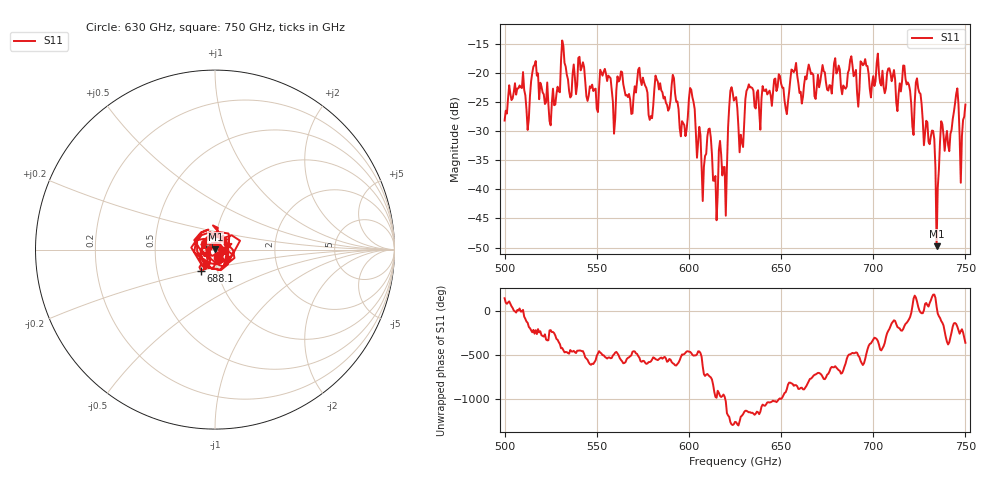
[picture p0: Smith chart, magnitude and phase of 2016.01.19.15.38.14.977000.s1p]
!Created with skrf (http://scikit-rf.org).
# GHz S RI R 50.0
!freq ReS11 ImS11
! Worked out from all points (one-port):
!   401 points, 500 GHz to 750 GHz, reference 50 ohm
!   lowest |S11| = -49.8 dB at 734.4 GHz (marker M1), VSWR 1.01, Z = 50.2 + j0.235 ohm
!   |S11| at or under -10 dB: start of sweep to end of sweep
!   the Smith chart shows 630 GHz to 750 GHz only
!   S11 on the Smith chart (normalised r, x): 630 GHz: 1.04, -0.07; 688.1 GHz: 0.83, -0.20; 750 GHz: 1.11, -0.00
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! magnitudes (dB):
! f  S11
! 500 GHz  -28.1
! 508.8 GHz  -22.4
! 512.5 GHz  -29.7
! 516.2 GHz  -18.6
! 525.6 GHz  -25.1
! 531.2 GHz  -14.3
! 559.4 GHz  -30.4
! 562.5 GHz  -21.1
! 593.8 GHz  -24.8
! 601.9 GHz  -24.1
! 608.1 GHz  -36.1
! 611.2 GHz  -29.5
! 614.4 GHz  -37.7
! 619.4 GHz  -36.1
! 622.5 GHz  -23.0
! 625 GHz  -24.3
! 628.1 GHz  -30.6
! 630 GHz  -28.5
! 632.5 GHz  -21.9
! 653.1 GHz  -27.0
! 656.2 GHz  -19.5
! 687.5 GHz  -17.7
! 688.1 GHz  -17.1
! 718.8 GHz  -21.6
! 724.4 GHz  -22.6
! 734.4 GHz  -49.8
! 737.5 GHz  -28.8
! 750 GHz  -25.4
